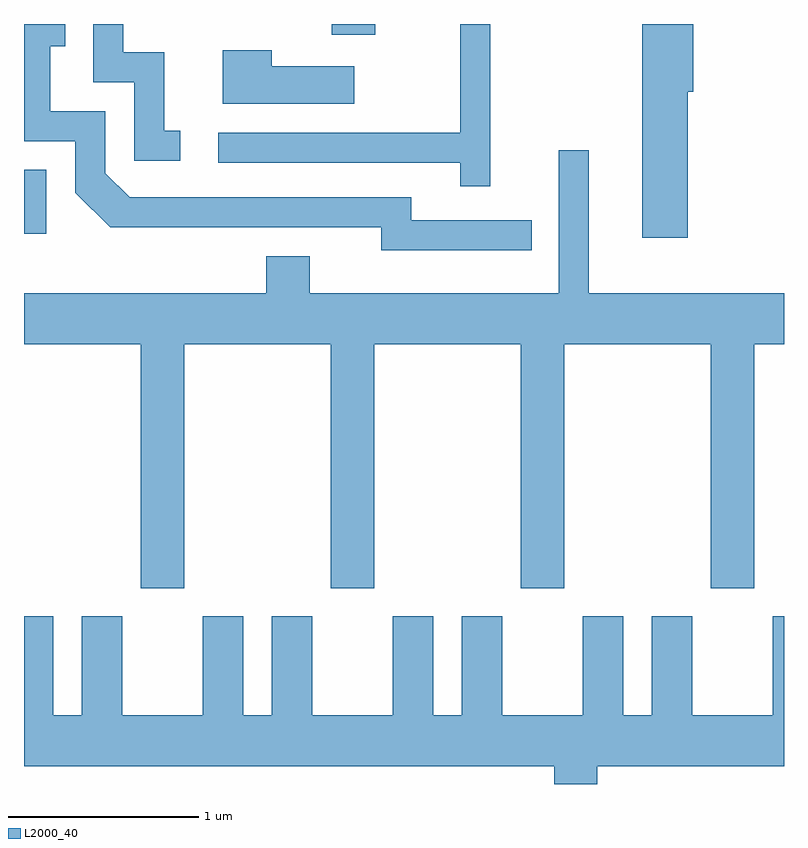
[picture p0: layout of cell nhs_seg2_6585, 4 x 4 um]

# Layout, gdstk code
import gdstk
lib = gdstk.Library(unit=1e-6, precision=1e-09)
def R(c, l, rs):  # rectangles x0, y0, x1, y1
    for r in rs: c.add(gdstk.rectangle(r[:2], r[2:], *l))
def P(c, l, *ps):  # polygons
    for p in ps: c.add(gdstk.Polygon(p, *l))
L2000_40 = (2000, 40)

nhs_seg2_6585 = lib.new_cell('nhs_seg2_6585')
R(nhs_seg2_6585, L2000_40, [(379.611,1026.698,379.729,1027.034), (381.231,1027.746,381.459,1027.802)])
P(nhs_seg2_6585, L2000_40, [(380.433,1027.239),(380.349,1027.239),(380.349,1027.654),(380.134,1027.654),(380.134,1027.802),(379.976,1027.802),(379.976,1027.496),(380.191,1027.496),(380.191,1027.081),(380.433,1027.081)],
  [(382.283,1026.769),(381.649,1026.769),(381.649,1026.889),(380.167,1026.889),(380.039,1027.017),(380.039,1027.344),(379.749,1027.344),(379.749,1027.686),(379.828,1027.686),(379.828,1027.802),(379.611,1027.802),(379.611,1027.186),(379.881,1027.186),(379.881,1026.914),(380.064,1026.731),(381.491,1026.731),(381.491,1026.611),(382.283,1026.611)],
  [(382.064,1027.802),(381.906,1027.802),(381.906,1027.229),(380.633,1027.229),(380.633,1027.071),(381.906,1027.071),(381.906,1026.948),(382.064,1026.948)],
  [(383.104,1027.446),(383.134,1027.446),(383.134,1027.802),(382.866,1027.802),(382.866,1026.676),(383.104,1026.676)],
  [(381.349,1027.579),(380.914,1027.579),(380.914,1027.664),(380.656,1027.664),(380.656,1027.381),(381.349,1027.381)],
  [(380.454,1026.116),(381.226,1026.116),(381.226,1024.831),(381.454,1024.831),(381.454,1026.116),(382.226,1026.116),(382.226,1024.831),(382.454,1024.831),(382.454,1026.116),(383.226,1026.116),(383.226,1024.831),(383.454,1024.831),(383.454,1026.116),(383.611,1026.116),(383.611,1026.384),(382.584,1026.384),(382.584,1027.138),(382.426,1027.138),(382.426,1026.384),(381.114,1026.384),(381.114,1026.579),(380.886,1026.579),(380.886,1026.384),(379.611,1026.384),(379.611,1026.116),(380.226,1026.116),(380.226,1024.831),(380.454,1024.831)],
  [(382.551,1024.164),(382.129,1024.164),(382.129,1024.684),(381.916,1024.684),(381.916,1024.164),(381.764,1024.164),(381.764,1024.684),(381.551,1024.684),(381.551,1024.164),(381.129,1024.164),(381.129,1024.684),(380.916,1024.684),(380.916,1024.164),(380.764,1024.164),(380.764,1024.684),(380.551,1024.684),(380.551,1024.164),(380.129,1024.164),(380.129,1024.684),(379.916,1024.684),(379.916,1024.164),(379.764,1024.164),(379.764,1024.684),(379.611,1024.684),(379.611,1023.896),(382.401,1023.896),(382.401,1023.802),(382.629,1023.802),(382.629,1023.896),(383.611,1023.896),(383.611,1024.684),(383.551,1024.684),(383.551,1024.164),(383.129,1024.164),(383.129,1024.684),(382.916,1024.684),(382.916,1024.164),(382.764,1024.164),(382.764,1024.684),(382.551,1024.684)])

lib.write_gds('nhs_seg2_6585.gds')
